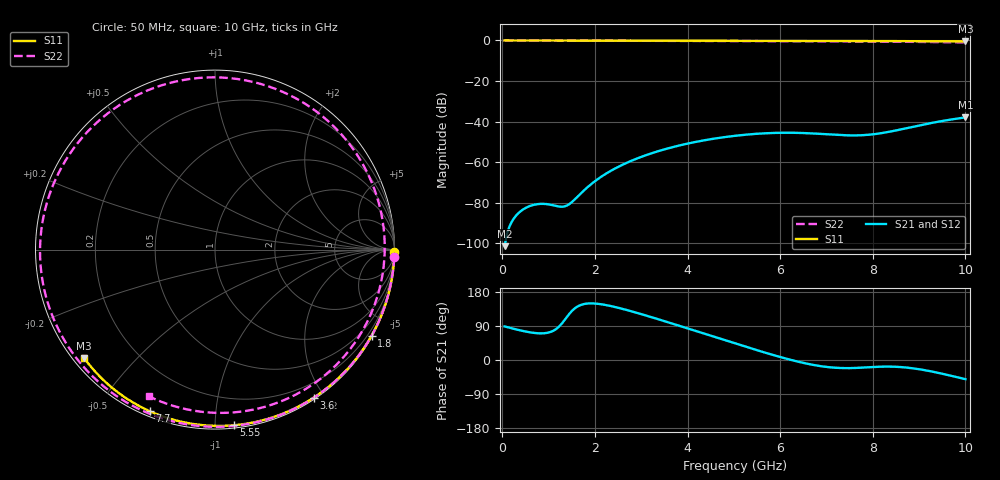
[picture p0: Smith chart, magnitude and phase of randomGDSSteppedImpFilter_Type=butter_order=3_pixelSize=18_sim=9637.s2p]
! freq	dB(S11)	phase(S11)	dB(S12)	phase(S12)
!  dB(S21)	phase(S21)	dB(S22)	phase(S22)
!S-par simulation data
#  GHz  S  DB  R 50
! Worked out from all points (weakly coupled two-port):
!   200 points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, 50 MHz to 10 GHz, reference 50 ohm
!   highest |S21| = -37.94 dB at 10 GHz (marker M1); lowest = -101.4 dB at 50 MHz (marker M2)
!   lowest |S11| = -0.5 dB at 10 GHz (marker M3), VSWR 36.58, Z = 1.55 - j18 ohm
!   |S11| at or under -10 dB: nowhere
!   |S22| runs from -0.9 to 0.0 dB; largest |S21 - S12| = 0
!   S11 on the Smith chart (normalised r, x): 50 MHz: open; 1.8 GHz: 0.03, -3.89; 3.6 GHz: 0.02, -1.87; 5.55 GHz: 0.02, -1.11; 7.7 GHz: 0.02, -0.68; 10 GHz: 0.03, -0.36
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0.05  -0.00 -0.8  -101.39 88.5  -101.39 88.5  -0.00 -2.4
0.7  -0.01 -11.3  -80.92 71.3  -80.92 71.3  -0.04 -33.6
1.45  -0.03 -23.3  -80.62 122.1  -80.62 122.1  -0.09 -68.3
1.75  -0.04 -28.1  -74.21 147.2  -74.21 147.2  -0.10 -81.7
1.8  -0.04 -28.8  -73.16 148.4  -73.16 148.4  -0.10 -83.9
2.15  -0.04 -34.3  -66.96 146.8  -66.96 146.8  -0.12 -99.2
2.55  -0.05 -40.5  -61.77 136.4  -61.77 136.4  -0.14 -116.4
3.4  -0.07 -53.3  -54.35 106.4  -54.35 106.4  -0.18 -152.1
3.6  -0.08 -56.3  -53.05 98.8  -53.05 98.8  -0.19 -160.5
4  -0.09 -62.1  -50.84 83.4  -50.84 83.4  -0.22 -177.5
4.35  -0.10 -67.2  -49.26 69.9  -49.26 69.9  -0.24 167.2
5.05  -0.12 -77.0  -46.93 42.9  -46.93 42.9  -0.29 135.2
5.55  -0.14 -83.9  -45.92 24.0  -45.92 24.0  -0.33 110.9
6.15  -0.16 -91.9  -45.48 2.9  -45.48 2.9  -0.37 80.0
6.7  -0.19 -99.2  -45.83 -12.6  -45.83 -12.6  -0.41 50.5
7.2  -0.22 -105.6  -46.52 -20.5  -46.52 -20.5  -0.44 23.4
7.7  -0.26 -111.9  -46.76 -20.6  -46.76 -20.6  -0.49 -3.2
8.35  -0.31 -120.0  -45.03 -17.4  -45.03 -17.4  -0.58 -36.3
8.75  -0.34 -125.0  -43.13 -20.2  -43.13 -20.2  -0.66 -55.7
9.15  -0.38 -129.9  -41.20 -27.5  -41.20 -27.5  -0.75 -74.6
9.55  -0.42 -134.8  -39.49 -37.6  -39.49 -37.6  -0.84 -93.2
10  -0.48 -140.3  -37.94 -50.6  -37.94 -50.6  -0.95 -114.3
